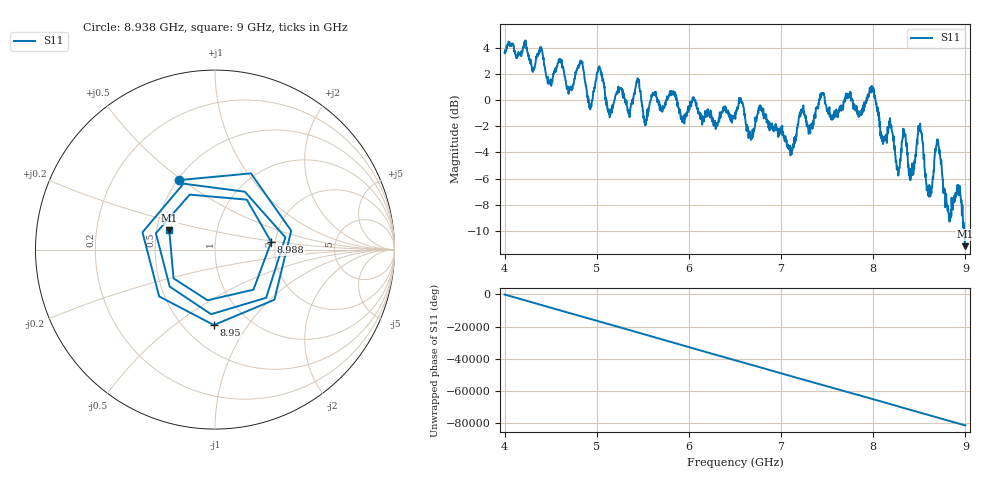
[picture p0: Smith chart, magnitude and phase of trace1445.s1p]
! Created with skrf 1.8.0 (http://scikit-rf.org).
# Hz S RI R 50.0
!freq ReS11 ImS11
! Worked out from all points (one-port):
!   1601 points, 4 GHz to 9 GHz, reference 50 ohm
!   lowest |S11| = -11.2 dB at 9 GHz (marker M1), VSWR 1.76, Z = 29.1 + j6.73 ohm
!   |S11| at or under -10 dB: 8.987863 GHz to end of sweep
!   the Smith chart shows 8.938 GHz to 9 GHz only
!   S11 on the Smith chart (normalised r, x): 8.938 GHz: 0.51, +0.48; 8.95 GHz: 0.69, -0.71; 8.988 GHz: 1.90, +0.18; 9 GHz: 0.58, +0.13
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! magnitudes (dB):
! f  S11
! 4 GHz  3.6
! 4.625 GHz  2.5
! 4.706 GHz  0.8
! 4.838 GHz  2.9
! 4.928 GHz  -0.7
! 5.025 GHz  2.6
! 5.141 GHz  -1.3
! 5.25 GHz  0.9
! 5.353 GHz  -0.9
! 5.45 GHz  1.4
! 5.528 GHz  -1.6
! 5.875 GHz  -0.5
! 6.5 GHz  -1.0
! 7.125 GHz  -3.5
! 7.225 GHz  -0.9
! 7.75 GHz  0.6
! 7.988 GHz  1.1
! 8.103 GHz  -3.0
! 8.375 GHz  -4.5
! 8.422 GHz  -4.8
! 8.506 GHz  -1.9
! 8.606 GHz  -6.6
! 8.697 GHz  -3.0
! 8.822 GHz  -9.1
! 8.938 GHz  -7.2
! 8.95 GHz  -7.5
! 8.988 GHz  -10.0
! 9 GHz  -11.2
